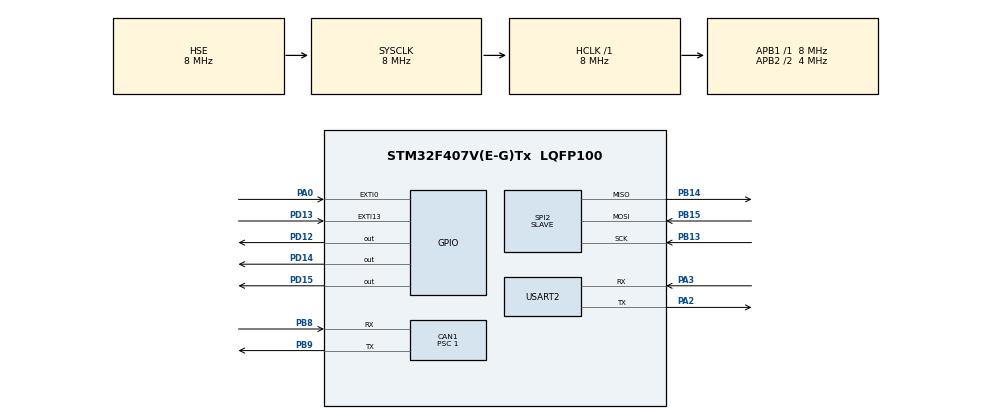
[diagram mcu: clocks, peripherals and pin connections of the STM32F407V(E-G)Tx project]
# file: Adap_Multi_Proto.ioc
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CAN1.BS1=CAN_BS1_6TQ
CAN1.CalculateBaudRate=1000000
CAN1.CalculateTimeBit=1000
CAN1.CalculateTimeQuantum=125.0
CAN1.Prescaler=1
Mcu.Family=STM32F4
Mcu.Name=STM32F407V(E-G)Tx
Mcu.Package=LQFP100
NVIC.CAN1_RX0_IRQn=true\:0\:0\:false\:false\:true\:true\:true\:true
NVIC.EXTI0_IRQn=true\:0\:0\:false\:false\:true\:true\:true\:true
NVIC.PriorityGroup=NVIC_PRIORITYGROUP_0
NVIC.SPI2_IRQn=true\:0\:0\:false\:false\:true\:true\:true\:true
NVIC.USART2_IRQn=true\:0\:0\:false\:false\:true\:true\:true\:true
PA0-WKUP.Signal=GPXTI0
PA2.Mode=Asynchronous
PA2.Signal=USART2_TX
PA3.GPIO_PuPd=GPIO_PULLUP
PA3.Mode=Asynchronous
PA3.Signal=USART2_RX
PB13.Mode=Full_Duplex_Slave
PB13.Signal=SPI2_SCK
PB14.Mode=Full_Duplex_Slave
PB14.Signal=SPI2_MISO
PB15.Mode=Full_Duplex_Slave
PB15.Signal=SPI2_MOSI
PB8.GPIO_PuPd=GPIO_PULLUP
PB8.Mode=CAN_Activate
PB8.Signal=CAN1_RX
PB9.Mode=CAN_Activate
PB9.Signal=CAN1_TX
PD12.Signal=GPIO_Output
PD13.Signal=GPXTI13
PD14.Signal=GPIO_Output
PD15.Signal=GPIO_Output
PH0-OSC_IN.Mode=HSE-External-Oscillator
PH0-OSC_IN.Signal=RCC_OSC_IN
PH1-OSC_OUT.Mode=HSE-External-Oscillator
PH1-OSC_OUT.Signal=RCC_OSC_OUT
ProjectManager.HeapSize=0x200
ProjectManager.StackSize=0x400
ProjectManager.TargetToolchain=EWARM V7
RCC.48MHZClocksFreq_Value=48000000
RCC.AHBFreq_Value=8000000
RCC.APB1Freq_Value=8000000
RCC.APB1TimFreq_Value=8000000
RCC.APB2CLKDivider=RCC_HCLK_DIV2
RCC.APB2Freq_Value=4000000
RCC.APB2TimFreq_Value=8000000
RCC.CortexFreq_Value=8000000
RCC.HCLKFreq_Value=8000000
RCC.HSE_VALUE=8000000
RCC.HSI_VALUE=16000000
RCC.LSE_VALUE=32768
RCC.PLLM=8
RCC.PLLN=336
RCC.PLLQ=7
RCC.PLLSourceVirtual=RCC_PLLSOURCE_HSE
RCC.SYSCLKFreq_VALUE=8000000
RCC.SYSCLKSource=RCC_SYSCLKSOURCE_HSE
RCC.VCOOutputFreq_Value=336000000
SPI2.Direction=SPI_DIRECTION_2LINES
SPI2.Mode=SPI_MODE_SLAVE
SPI2.VirtualType=VM_SLAVE
USART2.VirtualMode=VM_ASYNC
board=STM32F407G-DISC1

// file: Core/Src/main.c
/* USER CODE BEGIN Header */
/**
  ******************************************************************************
  * @file           : main.c
  * @brief          : Main program body
  ******************************************************************************
  * @attention
  *
  * Copyright (c) 2025 STMicroelectronics.
  * All rights reserved.
  *
  * This software is licensed under terms that can be found in the LICENSE file
  * in the root directory of this software component.
  * If no LICENSE file comes with this software, it is provided AS-IS.
  *
  ******************************************************************************
  */
/* USER CODE END Header */
#include "main.h"
#include "can.h"
#include "spi.h"
#include "usart.h"
#include "gpio.h"

/* USER CODE BEGIN Includes */
#include <string.h>
/* USER CODE END Includes */

/* USER CODE BEGIN PTD */
CAN_TxHeaderTypeDef pTxHeader; // Entête trame CAN à transmettre
CAN_RxHeaderTypeDef pRxHeader; // Entête trame CAN reçue
CAN_FilterTypeDef Filtercan1;  // Configuration filtre CAN

// Enumération pour choisir la sortie des données reçues
typedef enum {
    DEST_NONE = 0,
    DEST_CAN,
    DEST_UART,
    DEST_SPI
} Destination;
/* USER CODE END PTD */

/* USER CODE BEGIN PV */

// Buffers pour SPI / UART / CAN
uint8_t Tx_Can[5];
uint8_t Rx_Can[5];

uint8_t Tx_Uart[5];
uint8_t Rx_Uart[5];

uint8_t Tx_Spi[5];
uint8_t Rx_Spi[5];

// Flags indiquant réception via interruption
char spi_data_ready = 0;
char can_data_ready = 0;
char uart_data_ready = 0;

// Destination sélectionnée pour rediriger les données reçues
Destination data_output = DEST_SPI;
/* USER CODE END PV */

void SystemClock_Config(void);
/* USER CODE BEGIN PFP */

// Prototypes fonctions
void send_data_from_spi(void);
void send_data_from_can(void);
void send_data_from_uart(void);

/* USER CODE END PFP */

int main(void)
{

  /* MCU Configuration--------------------------------------------------------*/

  /* Reset of all peripherals, Initializes the Flash interface and the Systick. */
  HAL_Init();

  /* Configure the system clock */
  SystemClock_Config();

  /* Initialize all configured peripherals */
  MX_GPIO_Init();
  MX_CAN1_Init();
  MX_USART2_UART_Init();
  MX_SPI2_Init();
  /* USER CODE BEGIN 2 */

  // Démarrage et configuration CAN
  if (HAL_CAN_Start(&hcan1)!= HAL_OK)
  {
     Error_Handler();
  }
  Filtercan1.FilterIdHigh = 0x00;
  Filtercan1.FilterIdLow = 0x00;
  Filtercan1.FilterMaskIdHigh = 0x00;
  Filtercan1.FilterMaskIdLow = 0x00;
  Filtercan1.FilterFIFOAssignment = CAN_FILTER_FIFO0;
  Filtercan1.FilterBank = 0x00;
  Filtercan1.FilterMode = CAN_FILTERMODE_IDMASK;
  Filtercan1.FilterScale = CAN_FILTERSCALE_32BIT;
  Filtercan1.FilterActivation = CAN_FILTER_ENABLE;
  Filtercan1.SlaveStartFilterBank = 14;
  if (HAL_CAN_ConfigFilter(&hcan1, &Filtercan1)!= HAL_OK)
  {
  	 Error_Handler();
  }
  if (HAL_CAN_ActivateNotification(&hcan1,CAN_IT_RX_FIFO0_MSG_PENDING)!= HAL_OK)
  {
  	 Error_Handler();
  }

  // Activation réception UART et SPI en mode IT
  if (HAL_UART_Receive_IT(&huart2, Rx_Uart, 3)!= HAL_OK)
  {
	 Error_Handler();
  }

  // Activation réception SPI en mode IT
  if (HAL_SPI_Init(&hspi2) != HAL_OK)
  {
  	 Error_Handler();
  }
  if( HAL_SPI_Receive_IT(&hspi2, Rx_Spi, 4)!= HAL_OK)
  {
  	 Error_Handler();
  }
  /* USER CODE END 2 */

  /* Infinite loop */
  /* USER CODE BEGIN WHILE */
  while (1)
  {
    // Si données reçues via SPI
      if (spi_data_ready == 1)
      {
	spi_data_ready = 0;
	HAL_GPIO_WritePin(GPIOD, GPIO_PIN_12, GPIO_PIN_RESET);
	send_data_from_spi();
	if( HAL_SPI_Receive_IT(&hspi2, Rx_Spi, 3)!= HAL_OK)
	{
	  Error_Handler();
	}
      }
      HAL_Delay(500);

    // Si données reçues via CAN
      if (can_data_ready == 1)
      {
    	 can_data_ready = 0;
    	 HAL_GPIO_WritePin(GPIOD, GPIO_PIN_15, GPIO_PIN_RESET);
    	 send_data_from_can();
      }
      HAL_Delay(500);

    // Si données reçues via UART
      if (uart_data_ready == 1)
      {
         uart_data_ready = 0;
         HAL_GPIO_WritePin(GPIOD, GPIO_PIN_13, GPIO_PIN_RESET);
         send_data_from_uart();
      }

    /* USER CODE END WHILE */

  }
}

void SystemClock_Config(void)
{
  RCC_OscInitTypeDef RCC_OscInitStruct = {0};
  RCC_ClkInitTypeDef RCC_ClkInitStruct = {0};

  /** Configure the main internal regulator output voltage
  */
  __HAL_RCC_PWR_CLK_ENABLE();
  __HAL_PWR_VOLTAGESCALING_CONFIG(PWR_REGULATOR_VOLTAGE_SCALE1);

  /** Initializes the RCC Oscillators according to the specified parameters
  * in the RCC_OscInitTypeDef structure.
  */
  RCC_OscInitStruct.OscillatorType = RCC_OSCILLATORTYPE_HSE;
  RCC_OscInitStruct.HSEState = RCC_HSE_ON;
  RCC_OscInitStruct.PLL.PLLState = RCC_PLL_NONE;
  if (HAL_RCC_OscConfig(&RCC_OscInitStruct) != HAL_OK)
  {
    Error_Handler();
  }

  /** Initializes the CPU, AHB and APB buses clocks
  */
  RCC_ClkInitStruct.ClockType = RCC_CLOCKTYPE_HCLK|RCC_CLOCKTYPE_SYSCLK
                              |RCC_CLOCKTYPE_PCLK1|RCC_CLOCKTYPE_PCLK2;
  RCC_ClkInitStruct.SYSCLKSource = RCC_SYSCLKSOURCE_HSE;
  RCC_ClkInitStruct.AHBCLKDivider = RCC_SYSCLK_DIV1;
  RCC_ClkInitStruct.APB1CLKDivider = RCC_HCLK_DIV1;
  RCC_ClkInitStruct.APB2CLKDivider = RCC_HCLK_DIV2;

  if (HAL_RCC_ClockConfig(&RCC_ClkInitStruct, FLASH_LATENCY_0) != HAL_OK)
  {
    Error_Handler();
  }
}

/* USER CODE BEGIN 4 */

// Traitement des données reçues depuis SPI
void send_data_from_spi(void)
{
    switch (data_output) {
    case DEST_CAN:
    memcpy(Tx_Can, Rx_Spi, 5);
    pTxHeader.DLC=3;
    pTxHeader.ExtId=0;
    pTxHeader.IDE=CAN_ID_STD;
    pTxHeader.StdId=1;
    pTxHeader.RTR=CAN_RTR_DATA;
    pTxHeader.TransmitGlobalTime = DISABLE;
    if (HAL_CAN_AddTxMessage(&hcan1,&pTxHeader,Tx_Can,(uint32_t *)CAN_TX_MAILBOX0)!= HAL_OK)
    {
       Error_Handler();
    }
    break;

    case DEST_UART:
    memcpy(Tx_Uart, Rx_Spi, 5);
    if (HAL_UART_Transmit_IT(&huart2, Tx_Uart, 10)!= HAL_OK)
    {
       Error_Handler();
    }
    break;

    default:
    break;
   }
}

// Traitement des données reçues depuis CAN
void send_data_from_can(void)
{
    switch (data_output) {
    case DEST_SPI:
    memcpy(Tx_Spi, Rx_Can, 5);
    if (HAL_SPI_DeInit(&hspi2) != HAL_OK)
    {
       Error_Handler();
    }
    hspi2.Instance = SPI2;
    hspi2.Init.Mode = SPI_MODE_MASTER;
    hspi2.Init.Direction = SPI_DIRECTION_2LINES;
    hspi2.Init.DataSize = SPI_DATASIZE_8BIT;
    hspi2.Init.CLKPolarity = SPI_POLARITY_LOW;
    hspi2.Init.CLKPhase = SPI_PHASE_1EDGE;
    hspi2.Init.NSS = SPI_NSS_SOFT;
    hspi2.Init.BaudRatePrescaler = SPI_BAUDRATEPRESCALER_2;
    hspi2.Init.FirstBit = SPI_FIRSTBIT_MSB;
    hspi2.Init.TIMode = SPI_TIMODE_DISABLE;
    hspi2.Init.CRCCalculation = SPI_CRCCALCULATION_DISABLE;
    hspi2.Init.CRCPolynomial = 10;
    if (HAL_SPI_Init(&hspi2) != HAL_OK)
    {
       Error_Handler();
    }
    if(HAL_SPI_Transmit_IT(&hspi2, Tx_Spi, sizeof(Tx_Spi))!= HAL_OK)
    {
       Error_Handler();
    }
    break;

    case DEST_UART:
    memcpy(Tx_Uart, Rx_Can, 5);
    if (HAL_UART_Transmit_IT(&huart2, Tx_Uart, 10)!= HAL_OK)
    {
       Error_Handler();
    }
    break;

    default:
    break;
   }
}

// Traitement des données reçues depuis UART
void send_data_from_uart(void)
{
    switch (data_output) {
    case DEST_SPI:
    memcpy(Tx_Spi, Rx_Uart, 5);
    if (HAL_SPI_DeInit(&hspi2) != HAL_OK)
    {
       Error_Handler();
    }
    hspi2.Instance = SPI2;
    hspi2.Init.Mode = SPI_MODE_MASTER;
    hspi2.Init.Direction = SPI_DIRECTION_2LINES;
    hspi2.Init.DataSize = SPI_DATASIZE_8BIT;
    hspi2.Init.CLKPolarity = SPI_POLARITY_LOW;
    hspi2.Init.CLKPhase = SPI_PHASE_1EDGE;
    hspi2.Init.NSS = SPI_NSS_SOFT;
    hspi2.Init.BaudRatePrescaler = SPI_BAUDRATEPRESCALER_2;
    hspi2.Init.FirstBit = SPI_FIRSTBIT_MSB;
    hspi2.Init.TIMode = SPI_TIMODE_DISABLE;
    hspi2.Init.CRCCalculation = SPI_CRCCALCULATION_DISABLE;
    hspi2.Init.CRCPolynomial = 10;
    if (HAL_SPI_Init(&hspi2) != HAL_OK)
    {
       Error_Handler();
    }
    if(HAL_SPI_Transmit_IT(&hspi2, Tx_Spi, sizeof(Tx_Spi))!= HAL_OK)
    {
        Error_Handler();
    }
    break;

    case DEST_CAN:
    memcpy(Tx_Can, Rx_Uart, 5);
    pTxHeader.DLC=3;
    pTxHeader.ExtId=0;
    pTxHeader.IDE=CAN_ID_STD;
    pTxHeader.StdId=1;
    pTxHeader.RTR=CAN_RTR_DATA;
    pTxHeader.TransmitGlobalTime = DISABLE;
    if (HAL_CAN_AddTxMessage(&hcan1,&pTxHeader,Tx_Can,(uint32_t *)CAN_TX_MAILBOX0)!= HAL_OK)
    {
      Error_Handler();
    }
    break;

    default:
    break;
   }
}

// Callback fin transmission SPI
void HAL_SPI_TxCpltCallback(SPI_HandleTypeDef *hspi)
{
	 if(hspi->Instance == SPI2)
	 {
		HAL_GPIO_WritePin(GPIOD, GPIO_PIN_15, GPIO_PIN_SET);
	 }
}

// Callback fin réception CAN
void HAL_CAN_RxFifo0MsgPendingCallback(CAN_HandleTypeDef *hcan)
{
	 can_data_ready = 1;
	 HAL_GPIO_WritePin(GPIOD, GPIO_PIN_15, GPIO_PIN_SET);
	 if (HAL_CAN_GetRxMessage(hcan, CAN_RX_FIFO0,&pRxHeader,Rx_Can)!= HAL_OK)
	 {
	    Error_Handler();
	 }
}

// Callback fin réception UART
void HAL_UART_RxCpltCallback(UART_HandleTypeDef *huart)
{
	if(huart->Instance == USART2)
        {
	  uart_data_ready = 1;
	  HAL_GPIO_WritePin(GPIOD, GPIO_PIN_13, GPIO_PIN_SET);
	  if (HAL_UART_Receive_IT(&huart2, Rx_Uart, 3)!= HAL_OK)
	  {
	      Error_Handler();
	  }
	}
}
/* USER CODE END 4 */

void Error_Handler(void)
{
  __disable_irq();
  while (1)
  {
  }
}
